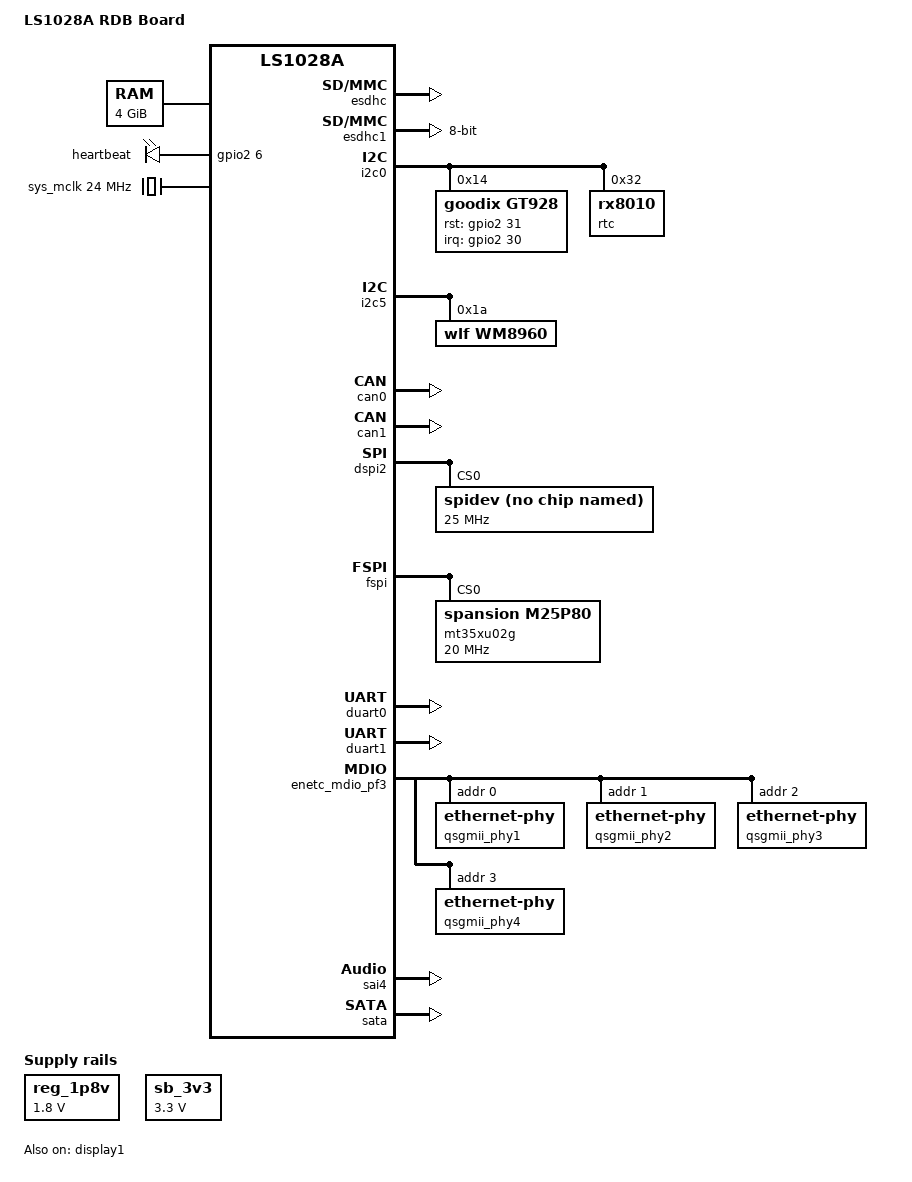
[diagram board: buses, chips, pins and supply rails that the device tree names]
// SPDX-License-Identifier: (GPL-2.0+ OR MIT)
/*
 * Device Tree file for NXP LS1028A RDB Board.
 *
 * Copyright 2018-2019 NXP
 *
 * Harninder Rai <harninder.rai@nxp.com>
 *
 */

/dts-v1/;
#include "fsl-ls1028a.dtsi"

/ {
	model = "LS1028A RDB Board";
	compatible = "fsl,ls1028a-rdb", "fsl,ls1028a";

	aliases {
		crypto = &crypto;
		serial0 = &duart0;
		serial1 = &duart1;
	};

	chosen {
		stdout-path = "serial0:115200n8";
	};

	memory@80000000 {
		device_type = "memory";
		reg = <0x0 0x80000000 0x1 0x0000000>;
	};

	reserved-memory {
		#address-cells = <2>;
		#size-cells = <2>;
		ranges;

		logo_reserved: logo@f0000000 {
			reg = <0x0 0xf0000000 0x0 0x800000>;
		};
	};

	leds {
                compatible = "gpio-leds";
                pinctrl-names = "default";
                user {
                        label = "heartbeat";
                        gpios = <&gpio2 6 0>;
                        default-state = "on";
                        linux,default-trigger = "heartbeat";
                };
        };

	sys_mclk: clock-mclk {
		compatible = "fixed-clock";
		#clock-cells = <0>;
		clock-frequency = <24000000>;
	};

	reg_1p8v: regulator-1p8v {
		compatible = "regulator-fixed";
		regulator-name = "1P8V";
		regulator-min-microvolt = <1800000>;
		regulator-max-microvolt = <1800000>;
		regulator-always-on;
	};

	sb_3v3: regulator-sb3v3 {
		compatible = "regulator-fixed";
		regulator-name = "3v3_vbus";
		regulator-min-microvolt = <3300000>;
		regulator-max-microvolt = <3300000>;
		regulator-boot-on;
		regulator-always-on;
	};

};

&esdhc {
	sd-uhs-sdr104;
	sd-uhs-sdr50;
	sd-uhs-sdr25;
	sd-uhs-sdr12;
	status = "okay";
};

&esdhc1 {
	mmc-hs200-1_8v;
	//mmc-hs400-1_8v;
	bus-width = <8>;
	status = "okay";
};

&i2c0 {
	status = "okay";

	gt928:gt928_ts@14 {
                compatible = "goodix,gt928";
                reg = <0x14>;
                interrupt-parent = <&gpio2>;
                interrupts = <30 2>;
                goodix,rst-gpio = <&gpio2 31 0>;
                goodix,irq-gpio = <&gpio2 30 0>;
                status = "okay";
        };

        rtc@32 {
                compatible = "rx8010";
                reg = <0x32>;
                status = "okay";
        };
};

&i2c5 {
	status = "okay";

	wm8960: wm8960@1a {
		compatible = "wlf,wm8960";
		reg = <0x1a>;
		wlf,shared-lrclk;
		clocks = <&sys_mclk>;
		clock-names = "mclk";
	};
};

&can0 {
	status = "okay";

	can-transceiver {
		max-bitrate = <5000000>;
	};
};

&can1 {
	status = "okay";

	can-transceiver {
		max-bitrate = <5000000>;
	};
};

&dspi2 {
	bus-num = <0>;
	status = "okay";
	spidev@0 {
                compatible = "spidev", "rohm,dh2228fv";
                reg = <0>;
                spi-max-frequency = <25000000>;
		fsl,spi-cs-sck-delay = <100>;
		fsl,spi-sck-cs-delay = <50>;
        };
};

&fspi {
	status = "okay";
	mt35xu02g: flash@0 {
		compatible = "spansion,m25p80";
		#address-cells = <1>;
		#size-cells = <1>;
		m25p,fast-read;
		spi-max-frequency = <20000000>;
		reg = <0>;
		/* The following setting enables 1-1-8 (CMD-ADDR-DATA) mode */
		spi-rx-bus-width = <4>; /* 8 SPI Rx lines */
		spi-tx-bus-width = <1>; /* 1 SPI Tx line */
	};
};

&duart0 {
	status = "okay";
};

&duart1 {
	status = "okay";
};

&enetc_port0 {
	status = "disabled";
};

&enetc_port1 {
	status = "disabled";
};

&enetc_mdio_pf3 {
	qsgmii_phy1: ethernet-phy@0 {
		reg = <0>;
	};

	qsgmii_phy2: ethernet-phy@1 {
		reg = <1>;
	};

	qsgmii_phy3: ethernet-phy@2 {
		reg = <2>;
	};

	qsgmii_phy4: ethernet-phy@3 {
		reg = <3>;
	};
};

/* l2switch ports */
&mscc_felix_ports {
	port@0 {
		status = "okay";
		phy-handle = <&qsgmii_phy1>;
		phy-mode = "qsgmii";
		managed = "in-band-status";
	};

	port@1 {
		status = "okay";
		phy-handle = <&qsgmii_phy2>;
		phy-mode = "qsgmii";
		managed = "in-band-status";
	};

	port@2 {
		status = "okay";
		phy-handle = <&qsgmii_phy3>;
		phy-mode = "qsgmii";
		managed = "in-band-status";
	};

	port@3 {
		status = "okay";
		phy-handle = <&qsgmii_phy4>;
		phy-mode = "qsgmii";
		managed = "in-band-status";
	};
};

&sai4 {
	status = "okay";
};

&sata {
	status = "okay";
};

&display1 {
	fsl,no_edid;
	resolution = "3840x2160@60",
		   "1920x1080@60",
		   "1280x720@60",
		   "720x480@60";
	lane_mapping = <0x4e>;
	edp_link_rate = <0x6>;
	edp_num_lanes = <0x4>;
	status = "okay";
};
